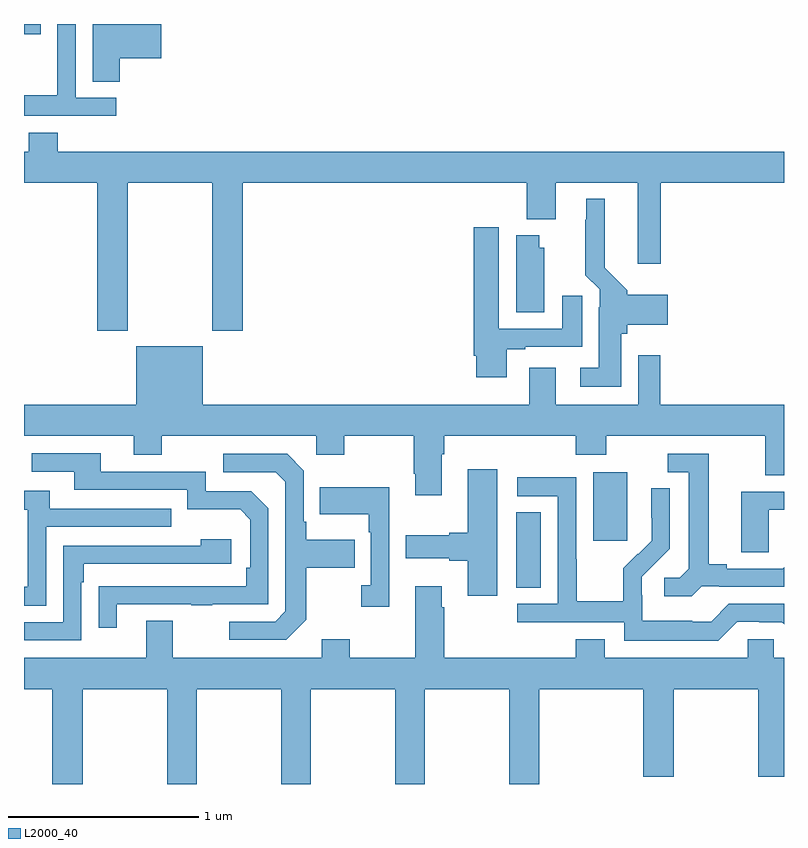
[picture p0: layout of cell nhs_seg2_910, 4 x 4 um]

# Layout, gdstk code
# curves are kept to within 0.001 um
import gdstk
lib = gdstk.Library(unit=1e-6, precision=1e-09)
def R(c, l, rs):  # rectangles x0, y0, x1, y1
    for r in rs: c.add(gdstk.rectangle(r[:2], r[2:], *l))
def P(c, l, *ps):  # polygons
    for p in ps: c.add(gdstk.Polygon(p, *l))
L2000_40 = (2000, 40)

nhs_seg2_910 = lib.new_cell('nhs_seg2_910')
R(nhs_seg2_910, L2000_40, [(159.59,650.833,159.721,651.23), (159.995,651.081,160.174,651.442), (157,653.745,157.087,653.8)])
P(nhs_seg2_910, L2000_40, [(157.505,653.621),(157.723,653.621),(157.723,653.8),(157.361,653.8),(157.361,653.497),(157.505,653.497)],
  [(157.486,653.412),(157.272,653.412),(157.272,653.8),(157.176,653.8),(157.176,653.648),(157.174,653.648),(157.174,653.425),(157,653.425),(157,653.316),(157.486,653.316)],
  [(157.545,652.964),(157.99,652.964),(157.99,652.185),(158.15,652.185),(158.15,652.964),(159.647,652.964),(159.647,652.772),(159.799,652.772),(159.799,652.964),(160.229,652.964),(160.229,652.539),(160.352,652.539),(160.352,652.964),(161,652.964),(161,653.128),(157.178,653.128),(157.178,653.227),(157.025,653.227),(157.025,653.128),(157,653.128),(157,652.964),(157.385,652.964),(157.385,652.185),(157.545,652.185)],
  [(160.144,652.17),(160.175,652.17),(160.175,652.217),(160.387,652.217),(160.387,652.375),(160.175,652.375),(160.175,652.398),(160.057,652.516),(160.057,652.879),(159.959,652.879),(159.959,652.769),(159.955,652.769),(159.955,652.478),(160.029,652.404),(160.029,652.31),(160.025,652.31),(160.025,651.991),(159.927,651.991),(159.927,651.89),(160.144,651.89)],
  [(159.541,652.089),(159.637,652.089),(159.637,652.101),(159.937,652.101),(159.937,652.369),(159.833,652.369),(159.833,652.197),(159.499,652.197),(159.499,652.729),(159.368,652.729),(159.368,652.054),(159.38,652.054),(159.38,651.942),(159.541,651.942)],
  [(159.739,652.623),(159.712,652.623),(159.712,652.687),(159.59,652.687),(159.59,652.282),(159.739,652.282)],
  [(159.199,651.536),(159.212,651.536),(159.212,651.632),(159.905,651.632),(159.905,651.533),(160.065,651.533),(160.065,651.632),(160.901,651.632),(160.901,651.424),(161,651.424),(161,651.796),(160.349,651.796),(160.349,652.057),(160.233,652.057),(160.233,651.796),(159.799,651.796),(159.799,651.991),(159.659,651.991),(159.659,651.796),(157.942,651.796),(157.942,652.105),(157.592,652.105),(157.592,651.796),(157,651.796),(157,651.632),(157.577,651.632),(157.577,651.533),(157.725,651.533),(157.725,651.632),(158.538,651.632),(158.538,651.533),(158.685,651.533),(158.685,651.632),(159.052,651.632),(159.052,651.433),(159.059,651.433),(159.059,651.321),(159.199,651.321)],
  [(157.489,650.745),(157.879,650.745),(157.879,650.74),(157.991,650.74),(157.991,650.745),(158.286,650.745),(158.286,651.252),(158.196,651.342),(157.956,651.342),(157.956,651.444),(157.405,651.444),(157.405,651.54),(157.041,651.54),(157.041,651.444),(157.265,651.444),(157.265,651.348),(157.86,651.348),(157.86,651.245),(158.137,651.245),(158.19,651.192),(158.19,650.938),(158.17,650.938),(158.17,650.841),(157.393,650.84),(157.393,650.622),(157.489,650.622)],
  [(160.566,650.841),(160.66,650.841),(160.66,650.838),(161,650.838),(161,650.94),(160.994,650.934),(160.699,650.934),(160.699,650.957),(160.603,650.957),(160.603,651.537),(160.389,651.537),(160.389,651.441),(160.499,651.441),(160.499,650.933),(160.452,650.886),(160.371,650.886),(160.371,650.789),(160.514,650.789)],
  [(158.485,650.665),(158.485,650.938),(158.741,650.938),(158.741,651.085),(158.485,651.085),(158.485,651.181),(158.472,651.181),(158.472,651.45),(158.385,651.537),(158.049,651.537),(158.049,651.441),(158.325,651.441),(158.376,651.39),(158.376,650.709),(158.322,650.655),(158.079,650.655),(158.079,650.559),(158.379,650.559)],
  [(159.49,651.457),(159.335,651.457),(159.335,651.122),(159.239,651.122),(159.239,651.109),(159.009,651.109),(159.009,650.987),(159.239,650.987),(159.239,650.975),(159.335,650.975),(159.335,650.79),(159.49,650.79)],
  [(160.755,650.655),(160.871,650.655),(160.871,650.652),(160.989,650.652),(161,650.641),(161,650.748),(160.71,650.748),(160.617,650.655),(160.517,650.655),(160.517,650.659),(160.254,650.659),(160.254,650.793),(160.252,650.793),(160.252,650.89),(160.398,651.038),(160.398,651.356),(160.302,651.356),(160.302,651.202),(160.304,651.202),(160.304,651.08),(160.233,651.009),(160.23,651.012),(160.153,650.935),(160.153,650.761),(159.909,650.761),(159.909,650.984),(159.906,650.984),(159.906,651.414),(159.597,651.414),(159.597,651.315),(159.81,651.315),(159.81,650.748),(159.597,650.748),(159.597,650.652),(160.158,650.652),(160.158,650.555),(160.655,650.555)],
  [(158.922,651.361),(158.557,651.361),(158.557,651.221),(158.814,651.221),(158.814,651.125),(158.826,651.125),(158.826,650.846),(158.775,650.846),(158.775,650.733),(158.922,650.733)],
  [(157.116,651.153),(157.775,651.153),(157.775,651.249),(157.135,651.249),(157.135,651.343),(157,651.343),(157,651.243),(157.02,651.243),(157.02,650.838),(157,650.838),(157,650.737),(157.116,650.737)],
  [(160.92,651.243),(161,651.243),(161,651.339),(160.775,651.339),(160.775,651.019),(160.92,651.019)],
  [(157.302,650.861),(157.315,650.861),(157.315,650.958),(158.092,650.958),(158.092,651.088),(157.931,651.088),(157.931,651.054),(157.206,651.054),(157.206,650.652),(157,650.652),(157,650.556),(157.302,650.556)],
  [(157.308,650.3),(157.753,650.3),(157.753,649.8),(157.908,649.8),(157.908,650.3),(158.353,650.3),(158.353,649.8),(158.508,649.8),(158.508,650.3),(158.953,650.3),(158.953,649.8),(159.108,649.8),(159.108,650.3),(159.553,650.3),(159.553,649.8),(159.713,649.8),(159.713,650.3),(160.259,650.3),(160.259,649.839),(160.419,649.839),(160.419,650.3),(160.864,650.3),(160.864,649.839),(161,649.839),(161,650.464),(160.947,650.464),(160.947,650.562),(160.809,650.562),(160.809,650.464),(160.057,650.464),(160.057,650.563),(159.905,650.563),(159.905,650.464),(159.212,650.464),(159.212,650.729),(159.199,650.729),(159.199,650.842),(159.059,650.842),(159.059,650.464),(158.715,650.464),(158.715,650.563),(158.567,650.563),(158.567,650.464),(157.783,650.464),(157.783,650.659),(157.643,650.659),(157.643,650.464),(157,650.464),(157,650.3),(157.148,650.3),(157.148,649.8),(157.308,649.8)])

lib.write_gds('nhs_seg2_910.gds')
